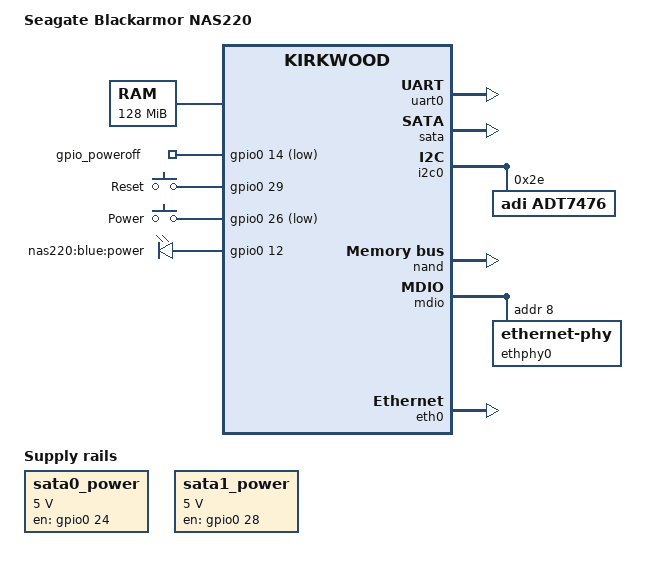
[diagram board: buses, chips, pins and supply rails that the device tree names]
/*
 * Device Tree file for Seagate Blackarmor NAS220
 *
 * Copyright (C) 2014 Evgeni Dobrev <evgeni@studio-punkt.com>
 *
 * Licensed under GPLv2 or later.
 */

/dts-v1/;

#include <dt-bindings/gpio/gpio.h>
#include <dt-bindings/input/input.h>
#include "kirkwood.dtsi"
#include "kirkwood-6192.dtsi"

/ {
	model = "Seagate Blackarmor NAS220";
	compatible = "seagate,blackarmor-nas220","marvell,kirkwood-88f6192",
		     "marvell,kirkwood";

	memory { /* 128 MB */
		device_type = "memory";
		reg = <0x00000000 0x8000000>;
	};

	chosen {
		bootargs = "console=ttyS0,115200n8";
		stdout-path = &uart0;
	};

	gpio_poweroff {
		compatible = "gpio-poweroff";
		gpios = <&gpio0 14 GPIO_ACTIVE_LOW>;
	};

	gpio_keys {
		compatible = "gpio-keys";

		reset {
			label = "Reset";
			linux,code = <KEY_POWER>;
			gpios = <&gpio0 29 GPIO_ACTIVE_HIGH>;
		};

		button {
			label = "Power";
			linux,code = <KEY_SLEEP>;
			gpios = <&gpio0 26 GPIO_ACTIVE_LOW>;
		};
	};

	gpio-leds {
		compatible = "gpio-leds";

		blue-power {
			label = "nas220:blue:power";
			gpios = <&gpio0 12 GPIO_ACTIVE_HIGH>;
			linux,default-trigger = "default-on";
		};
	};

	regulators {
		compatible = "simple-bus";
		#address-cells = <1>;
		#size-cells = <0>;
		pinctrl-0 = <&pmx_power_sata0 &pmx_power_sata1>;
		pinctrl-names = "default";

		sata0_power: regulator@1 {
			compatible = "regulator-fixed";
			reg = <1>;
			regulator-name = "SATA0 Power";
			regulator-min-microvolt = <5000000>;
			regulator-max-microvolt = <5000000>;
			enable-active-high;
			regulator-always-on;
			regulator-boot-on;
			gpio = <&gpio0 24 GPIO_ACTIVE_LOW>;
		};

		sata1_power: regulator@2 {
			compatible = "regulator-fixed";
			reg = <2>;
			regulator-name = "SATA1 Power";
			regulator-min-microvolt = <5000000>;
			regulator-max-microvolt = <5000000>;
			enable-active-high;
			regulator-always-on;
			regulator-boot-on;
			gpio = <&gpio0 28 GPIO_ACTIVE_LOW>;
		};
	};
};

/*
 * Serial port routed to connector CN5
 *
 * pin 1 - TX (CPU's TX)
 * pin 4 - RX (CPU's RX)
 * pin 6 - GND
 */
&uart0 {
	status = "okay";
};

&pinctrl {
	pinctrl-0 = <&pmx_button_reset &pmx_button_power>;
	pinctrl-names = "default";

	pmx_act_sata0: pmx-act-sata0 {
		marvell,pins = "mpp15";
		marvell,function = "sata0";
	};

	pmx_act_sata1: pmx-act-sata1 {
		marvell,pins = "mpp16";
		marvell,function = "sata1";
	};

	pmx_power_sata0: pmx-power-sata0 {
		marvell,pins = "mpp24";
		marvell,function = "gpio";
	};

	pmx_power_sata1: pmx-power-sata1 {
		marvell,pins = "mpp28";
		marvell,function = "gpio";
	};

	pmx_button_reset: pmx-button-reset {
		marvell,pins = "mpp29";
		marvell,function = "gpio";
	};

	pmx_button_power: pmx-button-power {
		marvell,pins = "mpp26";
		marvell,function = "gpio";
	};
};

&sata {
	status = "okay";
	nr-ports = <2>;
};

&i2c0 {
	status = "okay";

	adt7476: thermal@2e {
		compatible = "adi,adt7476";
		reg = <0x2e>;
	};
};

&nand {
	status = "okay";
};

&mdio {
	status = "okay";

	ethphy0: ethernet-phy@8 {
		 reg = <8>;
	};
};

&eth0 {
	status = "okay";

	ethernet0-port@0 {
		phy-handle = <&ethphy0>;
	};
};
